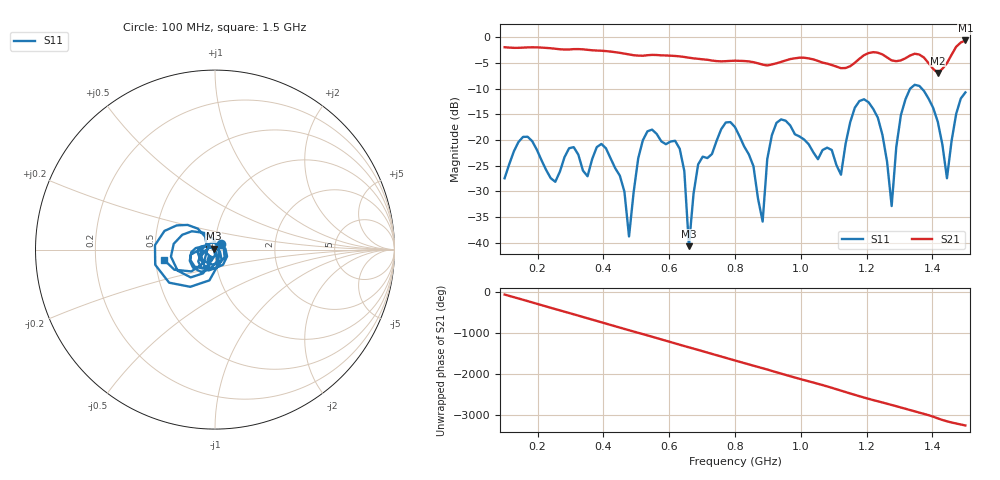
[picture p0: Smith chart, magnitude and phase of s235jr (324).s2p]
! NanoVNA-App
! Date: 2025-09-25 15:06:41
! Start: 100MHz Stop: 1,5GHz Points: 101
! S-Parameter data: F S11 S21 S12 S22
# Hz S RI R 50
!  Frequency  S11_Real  S11_Imag  S21_Real  S21_Imag  S12_Real  S12_Imag  S22_Real  S22_Imag
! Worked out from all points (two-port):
!   101 points, 100 MHz to 1.5 GHz, reference 50 ohm
!   highest |S21| = -0.65 dB at 1.5 GHz (marker M1); lowest = -7.0 dB at 1.416 GHz (marker M2)
!   |S21| within 3 dB of the highest: start of sweep to 613.4 MHz; 1.189 GHz to 1.255 GHz (65.53 MHz wide, 5.36 % of centre) (the widest 2 of 4)
!   lowest |S11| = -40.7 dB at 660 MHz (marker M3), VSWR 1.02, Z = 49.3 + j0.553 ohm
!   |S11| at or under -10 dB: start of sweep to 1.333 GHz; 1.367 GHz to end of sweep
!   S12 and S22 are empty: the file has one direction only
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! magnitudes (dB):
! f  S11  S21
! 100 MHz  -27.5  -2.0
! 156 MHz  -19.4  -2.0
! 338 MHz  -26.0  -2.4
! 408 MHz  -21.6  -2.7
! 478 MHz  -38.8  -3.4
! 520 MHz  -20.1  -3.6
! 576 MHz  -20.3  -3.6
! 632 MHz  -21.7  -3.7
! 660 MHz  -40.7  -4.0
! 688 MHz  -24.8  -4.2
! 800 MHz  -17.5  -4.6
! 884 MHz  -35.9  -5.3
! 926 MHz  -16.7  -5.1
! 1.038 GHz  -22.4  -4.3
! 1.122 GHz  -26.8  -6.0
! 1.206 GHz  -12.7  -3.1
! 1.276 GHz  -32.9  -4.5
! 1.304 GHz  -15.2  -4.5
! 1.332 GHz  -10.0  -3.6
! 1.416 GHz  -16.4  -7.0
! 1.444 GHz  -27.5  -5.1
! 1.5 GHz  -10.8  -0.6
